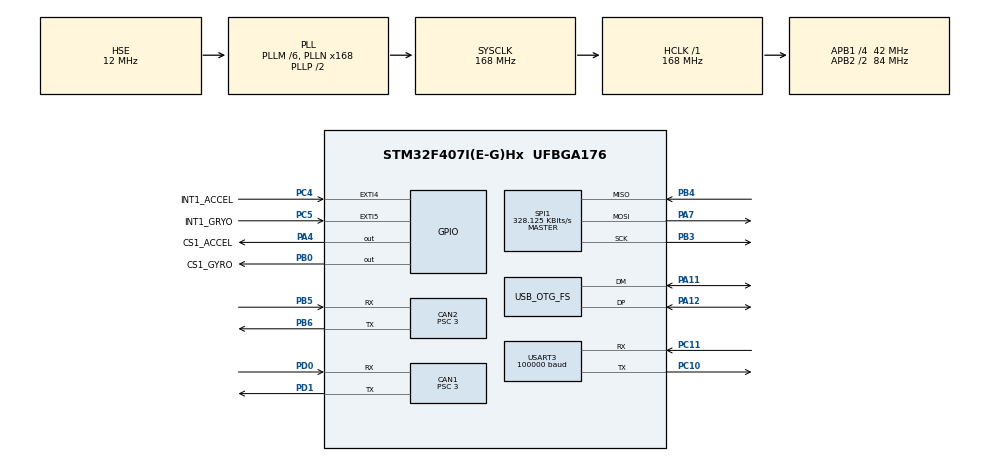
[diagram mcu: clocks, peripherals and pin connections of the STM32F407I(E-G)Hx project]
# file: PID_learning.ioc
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CAN1.BS1=CAN_BS1_10TQ
CAN1.BS2=CAN_BS2_3TQ
CAN1.CalculateBaudRate=1000000
CAN1.CalculateTimeBit=1000
CAN1.CalculateTimeQuantum=71.42857142857143
CAN1.Prescaler=3
CAN2.BS1=CAN_BS1_10TQ
CAN2.BS2=CAN_BS2_3TQ
CAN2.CalculateBaudRate=1000000
CAN2.CalculateTimeBit=1000
CAN2.CalculateTimeQuantum=71.42857142857143
CAN2.Prescaler=3
Dma.Request0=USART1_TX
Dma.Request1=USART3_RX
Dma.USART1_TX.0.Direction=DMA_MEMORY_TO_PERIPH
Dma.USART1_TX.0.FIFOMode=DMA_FIFOMODE_DISABLE
Dma.USART1_TX.0.Instance=DMA2_Stream7
Dma.USART1_TX.0.MemDataAlignment=DMA_MDATAALIGN_BYTE
Dma.USART1_TX.0.MemInc=DMA_MINC_ENABLE
Dma.USART1_TX.0.Mode=DMA_CIRCULAR
Dma.USART1_TX.0.PeriphDataAlignment=DMA_PDATAALIGN_BYTE
Dma.USART1_TX.0.PeriphInc=DMA_PINC_DISABLE
Dma.USART1_TX.0.Priority=DMA_PRIORITY_LOW
Dma.USART3_RX.1.Direction=DMA_PERIPH_TO_MEMORY
Dma.USART3_RX.1.FIFOMode=DMA_FIFOMODE_DISABLE
Dma.USART3_RX.1.Instance=DMA1_Stream1
Dma.USART3_RX.1.MemDataAlignment=DMA_MDATAALIGN_BYTE
Dma.USART3_RX.1.MemInc=DMA_MINC_ENABLE
Dma.USART3_RX.1.Mode=DMA_CIRCULAR
Dma.USART3_RX.1.PeriphDataAlignment=DMA_PDATAALIGN_BYTE
Dma.USART3_RX.1.PeriphInc=DMA_PINC_DISABLE
Dma.USART3_RX.1.Priority=DMA_PRIORITY_VERY_HIGH
FREERTOS.Tasks01=Motor_ControlTa,0,256,Motor_ControlTask,As weak,NULL,Dynamic,NULL,NULL;myTask02,0,256,StartTask02,As weak,NULL,Dynamic,NULL,NULL
Mcu.Family=STM32F4
Mcu.Name=STM32F407I(E-G)Hx
Mcu.Package=UFBGA176
NVIC.CAN1_RX0_IRQn=true\:5\:0\:false\:false\:true\:true\:true\:true\:true
NVIC.CAN2_RX0_IRQn=true\:5\:0\:false\:false\:true\:true\:true\:true\:true
NVIC.DMA1_Stream1_IRQn=true\:5\:0\:false\:false\:true\:true\:false\:true\:true
NVIC.DMA2_Stream7_IRQn=true\:5\:0\:false\:false\:true\:true\:false\:true\:true
NVIC.OTG_FS_IRQn=true\:5\:0\:false\:false\:true\:true\:false\:true\:true
NVIC.PriorityGroup=NVIC_PRIORITYGROUP_4
NVIC.TIM1_UP_TIM10_IRQn=true\:15\:0\:false\:false\:true\:false\:false\:true\:true
NVIC.TimeBase=TIM1_UP_TIM10_IRQn
NVIC.TimeBaseIP=TIM10
NVIC.USART3_IRQn=true\:5\:0\:true\:false\:true\:true\:true\:true\:true
PA11.Mode=Device_Only
PA11.Signal=USB_OTG_FS_DM
PA12.Mode=Device_Only
PA12.Signal=USB_OTG_FS_DP
PA13.Mode=Serial_Wire
PA13.Signal=SYS_JTMS-SWDIO
PA14.Mode=Serial_Wire
PA14.Signal=SYS_JTCK-SWCLK
PA4.GPIO_Label=CS1_ACCEL
PA4.GPIO_PuPd=GPIO_PULLUP
PA4.GPIO_Speed=GPIO_SPEED_FREQ_HIGH
PA4.PinState=GPIO_PIN_SET
PA4.Signal=GPIO_Output
PA7.Mode=Full_Duplex_Master
PA7.Signal=SPI1_MOSI
PB0.GPIO_Label=CS1_GYRO
PB0.GPIO_PuPd=GPIO_PULLUP
PB0.GPIO_Speed=GPIO_SPEED_FREQ_HIGH
PB0.PinState=GPIO_PIN_SET
PB0.Signal=GPIO_Output
PB3.Mode=Full_Duplex_Master
PB3.Signal=SPI1_SCK
PB4.Mode=Full_Duplex_Master
PB4.Signal=SPI1_MISO
PB5.Mode=CAN_Activate
PB5.Signal=CAN2_RX
PB6.Mode=CAN_Activate
PB6.Signal=CAN2_TX
PC10.Mode=Asynchronous
PC10.Signal=USART3_TX
PC11.Mode=Asynchronous
PC11.Signal=USART3_RX
PC4.GPIO_Label=INT1_ACCEL
PC4.GPIO_ModeDefaultEXTI=GPIO_MODE_IT_FALLING
PC4.GPIO_PuPd=GPIO_PULLUP
PC4.Signal=GPXTI4
PC5.GPIO_Label=INT1_GRYO
PC5.GPIO_ModeDefaultEXTI=GPIO_MODE_IT_FALLING
PC5.GPIO_PuPd=GPIO_PULLUP
PC5.Signal=GPXTI5
PD0.Mode=CAN_Activate
PD0.Signal=CAN1_RX
PD1.Mode=CAN_Activate
PD1.Signal=CAN1_TX
PH0-OSC_IN.Mode=HSE-External-Oscillator
PH0-OSC_IN.Signal=RCC_OSC_IN
PH1-OSC_OUT.Mode=HSE-External-Oscillator
PH1-OSC_OUT.Signal=RCC_OSC_OUT
ProjectManager.HeapSize=0x600
ProjectManager.StackSize=0x400
ProjectManager.TargetToolchain=MDK-ARM V5.32
RCC.48MHZClocksFreq_Value=48000000
RCC.AHBFreq_Value=168000000
RCC.APB1CLKDivider=RCC_HCLK_DIV4
RCC.APB1Freq_Value=42000000
RCC.APB1TimFreq_Value=84000000
RCC.APB2CLKDivider=RCC_HCLK_DIV2
RCC.APB2Freq_Value=84000000
RCC.APB2TimFreq_Value=168000000
RCC.CortexFreq_Value=168000000
RCC.EnbaleCSS=true
RCC.HCLKFreq_Value=168000000
RCC.HSE_VALUE=12000000
RCC.HSI_VALUE=16000000
RCC.LSE_VALUE=32768
RCC.PLLM=6
RCC.PLLN=168
RCC.PLLQ=7
RCC.SYSCLKFreq_VALUE=168000000
RCC.SYSCLKSource=RCC_SYSCLKSOURCE_PLLCLK
RCC.VCOOutputFreq_Value=336000000
SPI1.BaudRatePrescaler=SPI_BAUDRATEPRESCALER_256
SPI1.CLKPhase=SPI_PHASE_2EDGE
SPI1.CLKPolarity=SPI_POLARITY_HIGH
SPI1.CalculateBaudRate=328.125 KBits/s
SPI1.Direction=SPI_DIRECTION_2LINES
SPI1.Mode=SPI_MODE_MASTER
SPI1.VirtualType=VM_MASTER
USART3.BaudRate=100000
USART3.Parity=PARITY_EVEN
USART3.VirtualMode=VM_ASYNC
USART3.WordLength=WORDLENGTH_9B
USB_DEVICE.CLASS_NAME_FS=CDC
USB_DEVICE.VirtualMode-CDC_FS=Cdc
USB_DEVICE.VirtualModeFS=Cdc_FS
USB_OTG_FS.VirtualMode=Device_Only
VP_FREERTOS_VS_CMSIS_V1.Mode=CMSIS_V1
VP_SYS_VS_tim10.Mode=TIM10
VP_USB_DEVICE_VS_USB_DEVICE_CDC_FS.Mode=CDC_FS
board=custom

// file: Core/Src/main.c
/* USER CODE BEGIN Header */
/**
  ******************************************************************************
  * @file           : main.c
  * @brief          : Main program body
  ******************************************************************************
  * @attention
  *
  * Copyright (c) 2025 STMicroelectronics.
  * All rights reserved.
  *
  * This software is licensed under terms that can be found in the LICENSE file
  * in the root directory of this software component.
  * If no LICENSE file comes with this software, it is provided AS-IS.
  *
  ******************************************************************************
  */
/* USER CODE END Header */
#include "main.h"
#include "cmsis_os.h"
#include "can.h"
#include "dma.h"
#include "spi.h"
#include "usart.h"
#include "usb_device.h"
#include "gpio.h"

/* USER CODE BEGIN Includes */
#include "GM6020.h"
#include "dr_can.h"
#include "pid.h"
#include "dr16.h"
#include "BMI088driver.h"
#include"3508.h"
/* USER CODE END Includes */

/* USER CODE BEGIN PTD */
Moto_GM6020_t motor_pitch;  //0x205
Moto_GM6020_t motor_yaw;    //0x207
/* USER CODE END PTD */

/* USER CODE BEGIN PM */
uint8_t error_t;
/* USER CODE END PM */

/* USER CODE BEGIN PV */
rc_info_t rc_ctrl;
uint8_t rx_data[18];
motor_measure_t motor_chassis[7];
/* USER CODE END PV */

void SystemClock_Config(void);
void MX_FREERTOS_Init(void);

/* USER CODE BEGIN 0 */
fp32 gyro[3], accel[3], temp;
/* USER CODE END 0 */

int main(void)
{

  /* MCU Configuration--------------------------------------------------------*/

  /* Reset of all peripherals, Initializes the Flash interface and the Systick. */
  HAL_Init();

  /* Configure the system clock */
  SystemClock_Config();

  /* Initialize all configured peripherals */
  MX_GPIO_Init();
  MX_DMA_Init();
  MX_CAN1_Init();
  MX_USART3_UART_Init();
  MX_CAN2_Init();
  MX_SPI1_Init();
  /* USER CODE BEGIN 2 */
  CAN1_Filter_Init();
  CAN2_Filter_Init();
  MX_USB_DEVICE_Init();
	HAL_UART_Receive_DMA(&huart3, rx_data, 18);
	error_t=1;
	 while(error_t) error_t=BMI088_init();
  /* USER CODE END 2 */

  /* Call init function for freertos objects (in cmsis_os2.c) */
  MX_FREERTOS_Init();

  /* Start scheduler */
  osKernelStart();

  /* We should never get here as control is now taken by the scheduler */

  /* Infinite loop */
  while (1)
  {

  }
}

void SystemClock_Config(void)
{
  RCC_OscInitTypeDef RCC_OscInitStruct = {0};
  RCC_ClkInitTypeDef RCC_ClkInitStruct = {0};

  /** Configure the main internal regulator output voltage
  */
  __HAL_RCC_PWR_CLK_ENABLE();
  __HAL_PWR_VOLTAGESCALING_CONFIG(PWR_REGULATOR_VOLTAGE_SCALE1);

  /** Initializes the RCC Oscillators according to the specified parameters
  * in the RCC_OscInitTypeDef structure.
  */
  RCC_OscInitStruct.OscillatorType = RCC_OSCILLATORTYPE_HSE;
  RCC_OscInitStruct.HSEState = RCC_HSE_ON;
  RCC_OscInitStruct.PLL.PLLState = RCC_PLL_ON;
  RCC_OscInitStruct.PLL.PLLSource = RCC_PLLSOURCE_HSE;
  RCC_OscInitStruct.PLL.PLLM = 6;
  RCC_OscInitStruct.PLL.PLLN = 168;
  RCC_OscInitStruct.PLL.PLLP = RCC_PLLP_DIV2;
  RCC_OscInitStruct.PLL.PLLQ = 7;
  if (HAL_RCC_OscConfig(&RCC_OscInitStruct) != HAL_OK)
  {
    Error_Handler();
  }

  /** Initializes the CPU, AHB and APB buses clocks
  */
  RCC_ClkInitStruct.ClockType = RCC_CLOCKTYPE_HCLK|RCC_CLOCKTYPE_SYSCLK
                              |RCC_CLOCKTYPE_PCLK1|RCC_CLOCKTYPE_PCLK2;
  RCC_ClkInitStruct.SYSCLKSource = RCC_SYSCLKSOURCE_PLLCLK;
  RCC_ClkInitStruct.AHBCLKDivider = RCC_SYSCLK_DIV1;
  RCC_ClkInitStruct.APB1CLKDivider = RCC_HCLK_DIV4;
  RCC_ClkInitStruct.APB2CLKDivider = RCC_HCLK_DIV2;

  if (HAL_RCC_ClockConfig(&RCC_ClkInitStruct, FLASH_LATENCY_5) != HAL_OK)
  {
    Error_Handler();
  }

  /** Enables the Clock Security System
  */
  HAL_RCC_EnableCSS();
}

void HAL_TIM_PeriodElapsedCallback(TIM_HandleTypeDef *htim)
{
  if (htim->Instance == TIM10)
  {
    HAL_IncTick();
  }
}

void Error_Handler(void)
{
  __disable_irq();
  while (1)
  {
  }
}

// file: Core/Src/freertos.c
/* USER CODE BEGIN Header */
/**
  ******************************************************************************
  * File Name          : freertos.c
  * Description        : Code for freertos applications
  ******************************************************************************
  * @attention
  *
  * Copyright (c) 2025 STMicroelectronics.
  * All rights reserved.
  *
  * This software is licensed under terms that can be found in the LICENSE file
  * in the root directory of this software component.
  * If no LICENSE file comes with this software, it is provided AS-IS.
  *
  ******************************************************************************
  */
/* USER CODE END Header */

#include "FreeRTOS.h"
#include "task.h"
#include "main.h"
#include "cmsis_os.h"

/* USER CODE BEGIN Includes */
#include "BMI088driver.h"
/* USER CODE END Includes */

/* USER CODE BEGIN Variables */
extern fp32 gyro[3], accel[3], temp;
/* USER CODE END Variables */
osThreadId Motor_ControlTaHandle;
osThreadId myTask02Handle;

void Motor_ControlTask(void const * argument);
void StartTask02(void const * argument);

extern void MX_USB_DEVICE_Init(void);
void MX_FREERTOS_Init(void); /* (MISRA C 2004 rule 8.1) */

/* GetIdleTaskMemory prototype (linked to static allocation support) */
void vApplicationGetIdleTaskMemory( StaticTask_t **ppxIdleTaskTCBBuffer, StackType_t **ppxIdleTaskStackBuffer, uint32_t *pulIdleTaskStackSize );

/* USER CODE BEGIN GET_IDLE_TASK_MEMORY */
static StaticTask_t xIdleTaskTCBBuffer;
static StackType_t xIdleStack[configMINIMAL_STACK_SIZE];

void vApplicationGetIdleTaskMemory( StaticTask_t **ppxIdleTaskTCBBuffer, StackType_t **ppxIdleTaskStackBuffer, uint32_t *pulIdleTaskStackSize )
{
  *ppxIdleTaskTCBBuffer = &xIdleTaskTCBBuffer;
  *ppxIdleTaskStackBuffer = &xIdleStack[0];
  *pulIdleTaskStackSize = configMINIMAL_STACK_SIZE;
  /* place for user code */
}
/* USER CODE END GET_IDLE_TASK_MEMORY */

void MX_FREERTOS_Init(void) {

  /* Create the thread(s) */
  /* definition and creation of Motor_ControlTa */
  osThreadDef(Motor_ControlTa, Motor_ControlTask, osPriorityNormal, 0, 256);
  Motor_ControlTaHandle = osThreadCreate(osThread(Motor_ControlTa), NULL);

  /* definition and creation of myTask02 */
  osThreadDef(myTask02, StartTask02, osPriorityNormal, 0, 256);
  myTask02Handle = osThreadCreate(osThread(myTask02), NULL);

}

__weak void Motor_ControlTask(void const * argument)
{
  /* init code for USB_DEVICE */
  MX_USB_DEVICE_Init();
  for(;;)
  {
    osDelay(1);
  }
}

__weak void StartTask02(void const * argument)
{
  /* USER CODE BEGIN StartTask02 */
  /* Infinite loop */
  for(;;)
  {
		BMI088_read(gyro, accel, &temp);
		osDelay(10);
  }
  /* USER CODE END StartTask02 */
}
